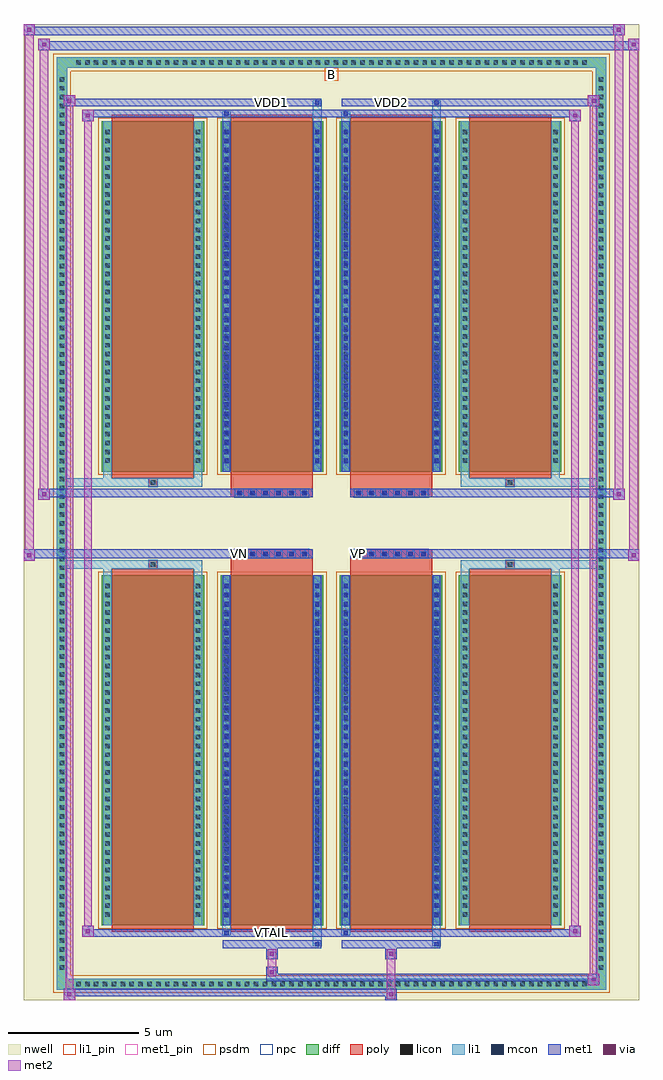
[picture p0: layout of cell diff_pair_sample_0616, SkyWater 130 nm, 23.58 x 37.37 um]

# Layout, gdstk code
import gdstk
lib = gdstk.Library(unit=1e-6, precision=5e-09)
def R(c, l, rs):  # rectangles x0, y0, x1, y1
    for r in rs: c.add(gdstk.rectangle(r[:2], r[2:], *l))
def A(c, l, x, y, w, h, nx, ny, dx, dy):  # array of equal rectangles
    R(c, l, [(x+i*dx, y+j*dy, x+i*dx+w, y+j*dy+h) for i in range(nx) for j in range(ny)])
def P(c, l, *ps):  # polygons
    for p in ps: c.add(gdstk.Polygon(p, *l))
nwell = (64, 20)
diff = (65, 20)
poly = (66, 20)
licon = (66, 44)
li1_pin = (67, 16)
li1 = (67, 20)
mcon = (67, 44)
met1_pin = (68, 16)
met1 = (68, 20)
via = (68, 44)
met2 = (69, 20)
psdm = (94, 20)
npc = (95, 20)

diff_pair_sample_0616 = lib.new_cell('diff_pair_sample_0616')
R(diff_pair_sample_0616, nwell, [(-11.79,-18.25,11.79,19.12), (-9.11,-16.44,-0.01,-0.8), (0.01,-16.44,9.11,-0.8), (-9.11,0.8,-0.01,16.44), (0.01,0.8,9.11,16.44)])
A(diff_pair_sample_0616, diff, -9.895, -17.85, 0.41, 0.41, 58, 2, 0.34, 35.29)
A(diff_pair_sample_0616, diff, -10.52, -17.205, 0.41, 0.41, 1, 101, 0, 0.34)
A(diff_pair_sample_0616, diff, 10.11, -17.205, 0.41, 0.41, 1, 101, 0, 0.34)
A(diff_pair_sample_0616, diff, -8.8, -15.395, 3.92, 13.41, 4, 2, 4.56, 17.38)
R(diff_pair_sample_0616, diff, [(-9.895,-17.85,9.895,-17.44), (-10.52,-17.205,-10.11,17.205), (10.11,-17.205,10.52,17.205), (-9.895,17.44,9.895,17.85)])
P(diff_pair_sample_0616, diff, [(10.52,17.85),(-10.52,17.85),(-10.52,-17.44),(-10.11,-17.44),(-10.11,17.44),(10.11,17.44),(10.11,-17.44),(-10.11,-17.44),(-10.52,-17.44),(-10.52,-17.85),(10.52,-17.85)])
A(diff_pair_sample_0616, poly, -8.41, -15.645, 3.14, 13.91, 4, 2, 4.56, 17.38)
A(diff_pair_sample_0616, poly, -3.695, -1.33, 0.33, 0.33, 6, 2, 0.5, 2.33)
A(diff_pair_sample_0616, poly, 0.865, -1.33, 0.33, 0.33, 6, 2, 0.5, 2.33)
R(diff_pair_sample_0616, poly, [(-7.005,-1.735,-6.675,-1.405), (-7.005,-1.735,-6.675,-1.405), (-3.85,-1.735,-0.71,-1.33), (0.71,-1.735,3.85,-1.33), (6.675,-1.735,7.005,-1.405), (6.675,-1.735,7.005,-1.405), (-3.85,-1.33,-0.71,-1), (0.71,-1.33,3.85,-1), (-3.85,1,-0.71,1.33), (0.71,1,3.85,1.33), (-3.85,1.33,-0.71,1.735), (0.71,1.33,3.85,1.735), (-7.005,1.405,-6.675,1.735), (-7.005,1.405,-6.675,1.735), (6.675,1.405,7.005,1.735), (6.675,1.405,7.005,1.735)])
A(diff_pair_sample_0616, licon, -9.775, -17.73, 0.17, 0.17, 58, 2, 0.34, 35.29)
A(diff_pair_sample_0616, licon, -10.4, -17.085, 0.17, 0.17, 1, 101, 0, 0.34)
A(diff_pair_sample_0616, licon, 10.23, -17.085, 0.17, 0.17, 1, 101, 0, 0.34)
A(diff_pair_sample_0616, licon, -8.66, -15.065, 0.17, 0.17, 1, 38, 0, 0.34)
A(diff_pair_sample_0616, licon, -5.19, -15.065, 0.17, 0.17, 1, 38, 0, 0.34)
A(diff_pair_sample_0616, licon, -4.1, -15.065, 0.17, 0.17, 1, 38, 0, 0.34)
A(diff_pair_sample_0616, licon, -0.63, -15.065, 0.17, 0.17, 1, 38, 0, 0.34)
A(diff_pair_sample_0616, licon, 0.46, -15.065, 0.17, 0.17, 1, 38, 0, 0.34)
A(diff_pair_sample_0616, licon, 3.93, -15.065, 0.17, 0.17, 1, 38, 0, 0.34)
A(diff_pair_sample_0616, licon, 5.02, -15.065, 0.17, 0.17, 1, 38, 0, 0.34)
A(diff_pair_sample_0616, licon, 8.49, -15.065, 0.17, 0.17, 1, 38, 0, 0.34)
A(diff_pair_sample_0616, licon, -3.615, -1.25, 0.17, 0.17, 6, 2, 0.5, 2.33)
A(diff_pair_sample_0616, licon, 0.945, -1.25, 0.17, 0.17, 6, 2, 0.5, 2.33)
A(diff_pair_sample_0616, licon, -8.66, 2.315, 0.17, 0.17, 1, 38, 0, 0.34)
A(diff_pair_sample_0616, licon, -5.19, 2.315, 0.17, 0.17, 1, 38, 0, 0.34)
A(diff_pair_sample_0616, licon, -4.1, 2.315, 0.17, 0.17, 1, 38, 0, 0.34)
A(diff_pair_sample_0616, licon, -0.63, 2.315, 0.17, 0.17, 1, 38, 0, 0.34)
A(diff_pair_sample_0616, licon, 0.46, 2.315, 0.17, 0.17, 1, 38, 0, 0.34)
A(diff_pair_sample_0616, licon, 3.93, 2.315, 0.17, 0.17, 1, 38, 0, 0.34)
A(diff_pair_sample_0616, licon, 5.02, 2.315, 0.17, 0.17, 1, 38, 0, 0.34)
A(diff_pair_sample_0616, licon, 8.49, 2.315, 0.17, 0.17, 1, 38, 0, 0.34)
R(diff_pair_sample_0616, licon, [(-6.925,-1.655,-6.755,-1.485), (6.755,-1.655,6.925,-1.485), (-6.925,1.485,-6.755,1.655), (6.755,1.485,6.925,1.655)])
R(diff_pair_sample_0616, li1_pin, [(-0.25,16.94,0.25,17.44)])
A(diff_pair_sample_0616, li1, -9.855, -17.81, 0.33, 0.33, 58, 2, 0.34, 35.29)
A(diff_pair_sample_0616, li1, -10.48, -17.165, 0.33, 0.33, 1, 101, 0, 0.34)
A(diff_pair_sample_0616, li1, 10.15, -17.165, 0.33, 0.33, 1, 101, 0, 0.34)
A(diff_pair_sample_0616, li1, -8.74, -15.145, 0.33, 0.33, 1, 38, 0, 0.34)
A(diff_pair_sample_0616, li1, -5.27, -15.145, 0.33, 0.33, 1, 38, 0, 0.34)
A(diff_pair_sample_0616, li1, -4.18, -15.145, 0.33, 0.33, 1, 38, 0, 0.34)
A(diff_pair_sample_0616, li1, -0.71, -15.145, 0.33, 0.33, 1, 38, 0, 0.34)
A(diff_pair_sample_0616, li1, 0.38, -15.145, 0.33, 0.33, 1, 38, 0, 0.34)
A(diff_pair_sample_0616, li1, 3.85, -15.145, 0.33, 0.33, 1, 38, 0, 0.34)
A(diff_pair_sample_0616, li1, 4.94, -15.145, 0.33, 0.33, 1, 38, 0, 0.34)
A(diff_pair_sample_0616, li1, 8.41, -15.145, 0.33, 0.33, 1, 38, 0, 0.34)
A(diff_pair_sample_0616, li1, -4.1, -15.075, 0.17, 0.17, 1, 36, 0, 0.36)
A(diff_pair_sample_0616, li1, -0.63, -15.075, 0.17, 0.17, 1, 36, 0, 0.36)
A(diff_pair_sample_0616, li1, 0.46, -15.075, 0.17, 0.17, 1, 36, 0, 0.36)
A(diff_pair_sample_0616, li1, 3.93, -15.075, 0.17, 0.17, 1, 36, 0, 0.36)
A(diff_pair_sample_0616, li1, -3.695, -1.33, 0.33, 0.33, 6, 2, 0.5, 2.33)
A(diff_pair_sample_0616, li1, 0.865, -1.33, 0.33, 0.33, 6, 2, 0.5, 2.33)
A(diff_pair_sample_0616, li1, -8.74, 2.235, 0.33, 0.33, 1, 38, 0, 0.34)
A(diff_pair_sample_0616, li1, -5.27, 2.235, 0.33, 0.33, 1, 38, 0, 0.34)
A(diff_pair_sample_0616, li1, -4.18, 2.235, 0.33, 0.33, 1, 38, 0, 0.34)
A(diff_pair_sample_0616, li1, -0.71, 2.235, 0.33, 0.33, 1, 38, 0, 0.34)
A(diff_pair_sample_0616, li1, 0.38, 2.235, 0.33, 0.33, 1, 38, 0, 0.34)
A(diff_pair_sample_0616, li1, 3.85, 2.235, 0.33, 0.33, 1, 38, 0, 0.34)
A(diff_pair_sample_0616, li1, 4.94, 2.235, 0.33, 0.33, 1, 38, 0, 0.34)
A(diff_pair_sample_0616, li1, 8.41, 2.235, 0.33, 0.33, 1, 38, 0, 0.34)
A(diff_pair_sample_0616, li1, -4.1, 2.305, 0.17, 0.17, 1, 36, 0, 0.36)
A(diff_pair_sample_0616, li1, -0.63, 2.305, 0.17, 0.17, 1, 36, 0, 0.36)
A(diff_pair_sample_0616, li1, 0.46, 2.305, 0.17, 0.17, 1, 36, 0, 0.36)
A(diff_pair_sample_0616, li1, 3.93, 2.305, 0.17, 0.17, 1, 36, 0, 0.36)
R(diff_pair_sample_0616, li1, [(-10.52,-17.85,-10.11,-17.44), (-10.52,-17.85,-10.11,-17.44), (-10.11,-17.85,10.11,-17.44), (10.11,-17.85,10.52,-17.44), (10.11,-17.85,10.52,-17.44), (-10.52,-17.44,-10.11,17.44), (10.11,-17.44,10.52,17.44), (-0.71,-16.2,-0.38,-15.395), (-0.63,-16.2,-0.46,-16.03), (3.85,-16.2,4.18,-15.395), (3.93,-16.2,4.1,-16.03), (-4.18,-15.77,-3.85,-15.395), (-4.1,-15.77,-3.93,-15.6), (0.38,-15.77,0.71,-15.395), (0.46,-15.77,0.63,-15.6), (-8.74,-15.395,-8.41,-1.985), (-5.27,-15.395,-4.94,-1.985), (-4.18,-15.395,-3.85,-1.985), (-0.71,-15.395,-0.38,-1.985), (0.38,-15.395,0.71,-1.985), (3.85,-15.395,4.18,-1.985), (4.94,-15.395,5.27,-1.985), (8.41,-15.395,8.74,-1.985), (-4.1,-15.075,-3.93,-2.305), (-0.63,-15.075,-0.46,-2.305), (0.46,-15.075,0.63,-2.305), (3.93,-15.075,4.1,-2.305), (-8.74,-1.985,-8.41,-1.405), (-5.27,-1.985,-4.94,-1.405), (4.94,-1.985,5.27,-1.405), (8.41,-1.985,8.74,-1.405), (-10.52,-1.735,-7.005,-1.405), (-8.74,-1.735,-7.005,-1.405), (-7.005,-1.735,-6.675,-1.405), (-6.675,-1.735,-4.94,-1.405), (4.94,-1.735,6.675,-1.405), (6.675,-1.735,7.005,-1.405), (6.675,-1.735,10.52,-1.405), (7.005,-1.735,8.74,-1.405), (-10.52,1.405,-7.005,1.735), (-8.74,1.405,-7.005,1.735), (-8.74,1.405,-8.41,1.985), (-7.005,1.405,-6.675,1.735), (-6.675,1.405,-4.94,1.735), (-5.27,1.405,-4.94,1.985), (4.94,1.405,6.675,1.735), (4.94,1.405,5.27,1.985), (6.675,1.405,7.005,1.735), (6.675,1.405,10.52,1.735), (7.005,1.405,8.74,1.735), (8.41,1.405,8.74,1.985), (-8.74,1.985,-8.41,15.395), (-5.27,1.985,-4.94,15.395), (-4.18,1.985,-3.85,15.395), (-0.71,1.985,-0.38,15.395), (0.38,1.985,0.71,15.395), (3.85,1.985,4.18,15.395), (4.94,1.985,5.27,15.395), (8.41,1.985,8.74,15.395), (-4.1,2.305,-3.93,15.075), (-0.63,2.305,-0.46,15.075), (0.46,2.305,0.63,15.075), (3.93,2.305,4.1,15.075), (-4.18,15.395,-3.85,15.77), (-0.71,15.395,-0.38,16.2), (0.38,15.395,0.71,15.77), (3.85,15.395,4.18,16.2), (-4.1,15.6,-3.93,15.77), (0.46,15.6,0.63,15.77), (-0.63,16.03,-0.46,16.2), (3.93,16.03,4.1,16.2), (-10.52,17.44,-10.11,17.85), (-10.52,17.44,-10.11,17.85), (-10.11,17.44,10.11,17.85), (10.11,17.44,10.52,17.85), (10.11,17.44,10.52,17.85)])
A(diff_pair_sample_0616, mcon, -4.1, -15.075, 0.17, 0.17, 1, 36, 0, 0.36)
A(diff_pair_sample_0616, mcon, -0.63, -15.075, 0.17, 0.17, 1, 36, 0, 0.36)
A(diff_pair_sample_0616, mcon, 0.46, -15.075, 0.17, 0.17, 1, 36, 0, 0.36)
A(diff_pair_sample_0616, mcon, 3.93, -15.075, 0.17, 0.17, 1, 36, 0, 0.36)
A(diff_pair_sample_0616, mcon, -3.615, -1.25, 0.17, 0.17, 6, 2, 0.5, 2.33)
A(diff_pair_sample_0616, mcon, 0.945, -1.25, 0.17, 0.17, 6, 2, 0.5, 2.33)
A(diff_pair_sample_0616, mcon, -4.1, 2.305, 0.17, 0.17, 1, 36, 0, 0.36)
A(diff_pair_sample_0616, mcon, -0.63, 2.305, 0.17, 0.17, 1, 36, 0, 0.36)
A(diff_pair_sample_0616, mcon, 0.46, 2.305, 0.17, 0.17, 1, 36, 0, 0.36)
A(diff_pair_sample_0616, mcon, 3.93, 2.305, 0.17, 0.17, 1, 36, 0, 0.36)
R(diff_pair_sample_0616, mcon, [(-0.63,-16.2,-0.46,-16.03), (3.93,-16.2,4.1,-16.03), (-4.1,-15.77,-3.93,-15.6), (0.46,-15.77,0.63,-15.6), (-4.1,15.6,-3.93,15.77), (0.46,15.6,0.63,15.77), (-0.63,16.03,-0.46,16.2), (3.93,16.03,4.1,16.2)])
R(diff_pair_sample_0616, met1_pin, [(-2.415,-15.81,-2.145,-15.54), (-3.665,-1.29,-3.395,-1.02), (0.895,-1.29,1.165,-1.02), (-2.415,15.99,-2.145,16.26), (2.145,15.99,2.415,16.26)])
A(diff_pair_sample_0616, met1, -4.16, -15.135, 0.29, 0.29, 1, 36, 0, 0.36)
A(diff_pair_sample_0616, met1, -0.69, -15.135, 0.29, 0.29, 1, 36, 0, 0.36)
A(diff_pair_sample_0616, met1, 0.4, -15.135, 0.29, 0.29, 1, 36, 0, 0.36)
A(diff_pair_sample_0616, met1, 3.87, -15.135, 0.29, 0.29, 1, 36, 0, 0.36)
A(diff_pair_sample_0616, met1, -3.675, -1.31, 0.29, 0.29, 6, 2, 0.5, 2.33)
A(diff_pair_sample_0616, met1, 0.885, -1.31, 0.29, 0.29, 6, 2, 0.5, 2.33)
A(diff_pair_sample_0616, met1, -4.16, 2.245, 0.29, 0.29, 1, 36, 0, 0.36)
A(diff_pair_sample_0616, met1, -0.69, 2.245, 0.29, 0.29, 1, 36, 0, 0.36)
A(diff_pair_sample_0616, met1, 0.4, 2.245, 0.29, 0.29, 1, 36, 0, 0.36)
A(diff_pair_sample_0616, met1, 3.87, 2.245, 0.29, 0.29, 1, 36, 0, 0.36)
R(diff_pair_sample_0616, met1, [(-10.25,-18.25,-9.82,-17.82), (2.065,-18.25,2.495,-17.82), (-10.25,-18.11,2.495,-17.82), (9.82,-17.68,10.25,-17.25), (-2.495,-17.54,10.25,-17.25), (-2.495,-17.4,-2.065,-16.97), (-2.495,-16.69,-2.065,-16.26), (2.065,-16.69,2.495,-16.26), (-4.16,-16.26,-0.4,-15.97), (-0.69,-16.26,-0.4,-15.97), (0.4,-16.26,4.16,-15.97), (3.87,-16.26,4.16,-15.97), (-9.54,-15.83,-9.11,-15.4), (-9.54,-15.83,-4.16,-15.54), (-4.16,-15.83,-3.87,-15.54), (-4.16,-15.83,-0.4,-15.54), (-0.4,-15.83,0.4,-15.54), (0.4,-15.83,0.69,-15.54), (0.4,-15.83,4.16,-15.54), (4.16,-15.83,9.54,-15.54), (9.11,-15.83,9.54,-15.4), (-4.16,-15.395,-3.87,-1.985), (-0.69,-15.395,-0.4,-1.985), (0.4,-15.395,0.69,-1.985), (3.87,-15.395,4.16,-1.985), (-11.79,-1.43,-11.36,-1), (11.36,-1.43,11.79,-1), (-11.79,-1.33,-0.71,-1), (-3.85,-1.33,-0.71,-1), (0.71,-1.33,3.85,-1), (0.71,-1.33,11.79,-1), (-11.22,0.9,-10.79,1.33), (10.79,0.9,11.22,1.33), (-11.22,1,-3.85,1.33), (-3.85,1,-0.71,1.33), (0.71,1,3.85,1.33), (3.85,1,11.22,1.33), (-4.16,1.985,-3.87,15.395), (-0.69,1.985,-0.4,15.395), (0.4,1.985,0.69,15.395), (3.87,1.985,4.16,15.395), (-9.54,15.4,-9.11,15.83), (9.11,15.4,9.54,15.83), (-9.54,15.54,-4.16,15.83), (-4.16,15.54,-3.87,15.83), (-4.16,15.54,-0.4,15.83), (-0.4,15.54,0.4,15.83), (0.4,15.54,0.69,15.83), (0.4,15.54,4.16,15.83), (4.16,15.54,9.54,15.83), (-10.25,15.97,-9.82,16.4), (-10.25,15.97,-4.16,16.26), (-4.16,15.97,-0.4,16.26), (-0.69,15.97,-0.4,16.26), (0.4,15.97,4.16,16.26), (3.87,15.97,4.16,16.26), (4.16,15.97,10.25,16.26), (9.82,15.97,10.25,16.4), (-11.22,18.12,-10.79,18.55), (-11.22,18.12,-9.11,18.45), (-9.11,18.12,9.11,18.45), (9.11,18.12,11.79,18.45), (11.36,18.12,11.79,18.55), (-11.79,18.69,-11.36,19.12), (-11.79,18.69,-9.11,19.02), (-9.11,18.69,9.11,19.02), (9.11,18.69,11.22,19.02), (10.79,18.69,11.22,19.12)])
R(diff_pair_sample_0616, via, [(-10.11,-18.11,-9.96,-17.96), (2.205,-18.11,2.355,-17.96), (9.96,-17.54,10.11,-17.39), (-2.355,-17.26,-2.205,-17.11), (-2.355,-16.55,-2.205,-16.4), (2.205,-16.55,2.355,-16.4), (-9.4,-15.69,-9.25,-15.54), (9.25,-15.69,9.4,-15.54), (-11.65,-1.29,-11.5,-1.14), (11.5,-1.29,11.65,-1.14), (-11.08,1.04,-10.93,1.19), (10.93,1.04,11.08,1.19), (-9.4,15.54,-9.25,15.69), (9.25,15.54,9.4,15.69), (-10.11,16.11,-9.96,16.26), (9.96,16.11,10.11,16.26), (-11.08,18.26,-10.93,18.41), (11.5,18.26,11.65,18.41), (-11.65,18.83,-11.5,18.98), (10.93,18.83,11.08,18.98)])
R(diff_pair_sample_0616, met2, [(-10.25,-18.25,-9.82,-17.82), (-10.18,-18.25,-9.89,16.4), (-9.89,-18.25,-9.82,-17.82), (-10.2,-18.2,-9.87,-17.87), (2.115,-18.2,2.445,-17.87), (2.115,-17.87,2.445,-16.64), (9.82,-17.68,10.25,-17.25), (9.89,-17.68,10.18,16.4), (10.18,-17.68,10.25,-17.25), (9.87,-17.63,10.2,-17.3), (-2.445,-17.35,-2.115,-17.02), (-2.445,-17.02,-2.115,-16.64), (-2.445,-16.64,-2.115,-16.31), (2.115,-16.64,2.445,-16.31), (-9.54,-15.83,-9.11,-15.4), (-9.47,-15.83,-9.18,15.83), (-9.18,-15.83,-9.11,-15.4), (9.11,-15.83,9.54,-15.4), (9.18,-15.83,9.47,15.83), (9.47,-15.83,9.54,-15.4), (-9.49,-15.78,-9.16,-15.45), (9.16,-15.78,9.49,-15.45), (-11.79,-1.43,-11.36,-1), (-11.74,-1.43,-11.41,19.12), (-11.41,-1.43,-11.36,-1), (11.36,-1.43,11.79,-1), (11.41,-1.43,11.74,18.55), (11.74,-1.43,11.79,-1), (-11.74,-1.38,-11.41,-1.05), (11.41,-1.38,11.74,-1.05), (-11.22,0.9,-10.79,1.33), (-11.17,0.9,-10.84,18.55), (-10.84,0.9,-10.79,1.33), (10.79,0.9,11.22,1.33), (10.84,0.9,11.17,19.12), (11.17,0.9,11.22,1.33), (-11.17,0.95,-10.84,1.28), (10.84,0.95,11.17,1.28), (-9.54,15.4,-9.11,15.83), (-9.18,15.4,-9.11,15.83), (9.11,15.4,9.54,15.83), (9.47,15.4,9.54,15.83), (-9.49,15.45,-9.16,15.78), (9.16,15.45,9.49,15.78), (-10.25,15.97,-9.82,16.4), (-9.89,15.97,-9.82,16.4), (9.82,15.97,10.25,16.4), (10.18,15.97,10.25,16.4), (-10.2,16.02,-9.87,16.35), (9.87,16.02,10.2,16.35), (-11.22,18.12,-10.79,18.55), (-10.84,18.12,-10.79,18.55), (11.36,18.12,11.79,18.55), (11.74,18.12,11.79,18.55), (-11.17,18.17,-10.84,18.5), (11.41,18.17,11.74,18.5), (-11.79,18.69,-11.36,19.12), (-11.41,18.69,-11.36,19.12), (10.79,18.69,11.22,19.12), (11.17,18.69,11.22,19.12), (-11.74,18.74,-11.41,19.07), (10.84,18.74,11.17,19.07)])
A(diff_pair_sample_0616, psdm, -8.93, -15.525, 4.18, 13.67, 4, 2, 4.56, 17.38)
P(diff_pair_sample_0616, psdm, [(10.65,17.98),(-10.65,17.98),(-10.65,-17.31),(-9.98,-17.31),(-9.98,17.31),(9.98,17.31),(9.98,-17.31),(-9.98,-17.31),(-10.65,-17.31),(-10.65,-17.98),(10.65,-17.98)])
A(diff_pair_sample_0616, npc, -3.715, -1.35, 0.37, 0.37, 6, 2, 0.5, 2.33)
A(diff_pair_sample_0616, npc, 0.845, -1.35, 0.37, 0.37, 6, 2, 0.5, 2.33)
R(diff_pair_sample_0616, npc, [(-7.025,-1.755,-6.655,-1.385), (6.655,-1.755,7.025,-1.385), (-3.715,-1.35,-2.845,-0.98), (-3.715,-1.35,-2.845,-0.98), (-3.215,-1.35,-2.345,-0.98), (-3.215,-1.35,-2.345,-0.98), (-2.715,-1.35,-1.845,-0.98), (-2.715,-1.35,-1.845,-0.98), (-2.215,-1.35,-1.345,-0.98), (-2.215,-1.35,-1.345,-0.98), (-1.715,-1.35,-0.845,-0.98), (-1.715,-1.35,-0.845,-0.98), (0.845,-1.35,1.715,-0.98), (0.845,-1.35,1.715,-0.98), (1.345,-1.35,2.215,-0.98), (1.345,-1.35,2.215,-0.98), (1.845,-1.35,2.715,-0.98), (1.845,-1.35,2.715,-0.98), (2.345,-1.35,3.215,-0.98), (2.345,-1.35,3.215,-0.98), (2.845,-1.35,3.715,-0.98), (2.845,-1.35,3.715,-0.98), (-3.715,0.98,-2.845,1.35), (-3.715,0.98,-2.845,1.35), (-3.215,0.98,-2.345,1.35), (-3.215,0.98,-2.345,1.35), (-2.715,0.98,-1.845,1.35), (-2.715,0.98,-1.845,1.35), (-2.215,0.98,-1.345,1.35), (-2.215,0.98,-1.345,1.35), (-1.715,0.98,-0.845,1.35), (-1.715,0.98,-0.845,1.35), (0.845,0.98,1.715,1.35), (0.845,0.98,1.715,1.35), (1.345,0.98,2.215,1.35), (1.345,0.98,2.215,1.35), (1.845,0.98,2.715,1.35), (1.845,0.98,2.715,1.35), (2.345,0.98,3.215,1.35), (2.345,0.98,3.215,1.35), (2.845,0.98,3.715,1.35), (2.845,0.98,3.715,1.35), (-7.025,1.385,-6.655,1.755), (6.655,1.385,7.025,1.755)])
diff_pair_sample_0616.add(gdstk.Label('VTAIL', (-2.28,-15.675), layer=68, texttype=5))
diff_pair_sample_0616.add(gdstk.Label('VN', (-3.53,-1.155), layer=68, texttype=5))
diff_pair_sample_0616.add(gdstk.Label('VP', (1.03,-1.155), layer=68, texttype=5))
diff_pair_sample_0616.add(gdstk.Label('B', (0,17.19), layer=67, texttype=5))
diff_pair_sample_0616.add(gdstk.Label('VDD2', (2.28,16.125), layer=68, texttype=5))
diff_pair_sample_0616.add(gdstk.Label('VDD1', (-2.28,16.125), layer=68, texttype=5))

lib.write_gds('diff_pair_sample_0616.gds')
